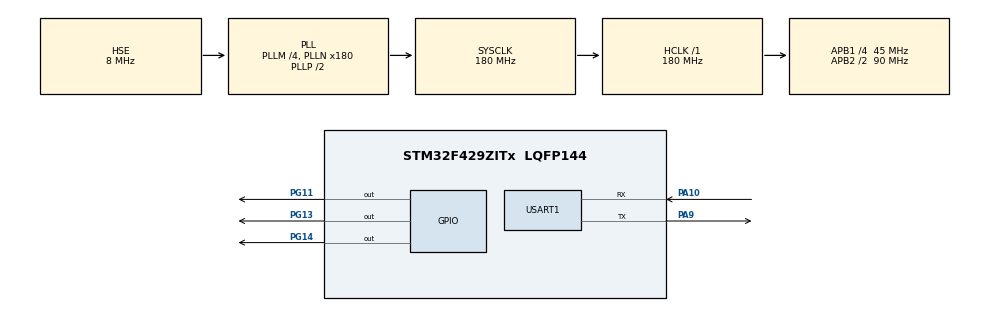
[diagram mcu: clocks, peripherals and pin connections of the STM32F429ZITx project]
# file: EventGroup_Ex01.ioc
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FREERTOS.Tasks01=defaultTask,0,128,StartDefaultTask,Default,NULL,Dynamic,NULL,NULL
Mcu.Family=STM32F4
Mcu.Name=STM32F429ZITx
Mcu.Package=LQFP144
NVIC.PriorityGroup=NVIC_PRIORITYGROUP_4
NVIC.TIM6_DAC_IRQn=true\:15\:0\:false\:false\:true\:false\:false\:true\:true
NVIC.TimeBase=TIM6_DAC_IRQn
NVIC.TimeBaseIP=TIM6
PA10.Mode=Asynchronous
PA10.Signal=USART1_RX
PA9.Mode=Asynchronous
PA9.Signal=USART1_TX
PG11.Signal=GPIO_Output
PG13.Signal=GPIO_Output
PG14.Signal=GPIO_Output
PH0/OSC_IN.Mode=HSE-External-Oscillator
PH0/OSC_IN.Signal=RCC_OSC_IN
PH1/OSC_OUT.Mode=HSE-External-Oscillator
PH1/OSC_OUT.Signal=RCC_OSC_OUT
ProjectManager.HeapSize=0x200
ProjectManager.StackSize=0x400
ProjectManager.TargetToolchain=STM32CubeIDE
RCC.48MHZClocksFreq_Value=51428571.428571425
RCC.AHBFreq_Value=180000000
RCC.APB1CLKDivider=RCC_HCLK_DIV4
RCC.APB1Freq_Value=45000000
RCC.APB1TimFreq_Value=90000000
RCC.APB2CLKDivider=RCC_HCLK_DIV2
RCC.APB2Freq_Value=90000000
RCC.APB2TimFreq_Value=180000000
RCC.CortexFreq_Value=180000000
RCC.HCLKFreq_Value=180000000
RCC.HSE_VALUE=8000000
RCC.HSI_VALUE=16000000
RCC.LSE_VALUE=32768
RCC.PLLM=4
RCC.PLLN=180
RCC.PLLQ=7
RCC.PLLSourceVirtual=RCC_PLLSOURCE_HSE
RCC.SYSCLKFreq_VALUE=180000000
RCC.SYSCLKSource=RCC_SYSCLKSOURCE_PLLCLK
RCC.VCOOutputFreq_Value=360000000
USART1.VirtualMode=VM_ASYNC
VP_FREERTOS_VS_CMSIS_V1.Mode=CMSIS_V1
VP_SYS_VS_tim6.Mode=TIM6
board=STM32F429I-DISC1

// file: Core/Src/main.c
/* USER CODE BEGIN Header */
/**
  ******************************************************************************
  * @file           : main.c
  * @brief          : Main program body
  ******************************************************************************
  * @attention
  *
  * Copyright (c) 2025 STMicroelectronics.
  * All rights reserved.
  *
  * This software is licensed under terms that can be found in the LICENSE file
  * in the root directory of this software component.
  * If no LICENSE file comes with this software, it is provided AS-IS.
  *
  ******************************************************************************
  */
/* USER CODE END Header */
#include "main.h"
#include "FreeRTOS.h"
#include "task.h"
#include "timers.h"
#include "queue.h"
#include "semphr.h"
#include "event_groups.h"

UART_HandleTypeDef huart1;

void SystemClock_Config(void);
static void MX_GPIO_Init(void);
static void MX_USART1_UART_Init(void);

/* USER CODE BEGIN 0 */

/* ********************* Task Handles *************************************** */
TaskHandle_t Task01Handle = NULL;
TaskHandle_t Task02Handle = NULL;
TaskHandle_t Task03Handle = NULL;

TaskHandle_t Tasks_WatchDogHandle = NULL;

/* ********************* Event Group Handle ********************************** */
EventGroupHandle_t xEventBits;

const uint32_t task01_id = ( 1 << 0 ); // 0x01 bit 0
const uint32_t task02_id = ( 1 << 1 ); // 0x02 bit 1
const uint32_t task03_id = ( 1 << 2 ); // 0x04 bit 2

const uint32_t all_sync_bits = ( task01_id | task02_id | task03_id ); // 0x07 bits 0, 1, 2

void Task01(void* pvParameters)
{
	for(;;)
	{
		HAL_GPIO_TogglePin(GPIOG, GPIO_PIN_13);
		xEventGroupSetBits(xEventBits, task01_id);
		vTaskDelay(pdMS_TO_TICKS(1000));
	}
}

void Task02(void *pvParameters)
{
	for(;;)
	{
		HAL_GPIO_TogglePin(GPIOG, GPIO_PIN_14);
		xEventGroupSetBits(xEventBits, task02_id);
		vTaskDelay(pdMS_TO_TICKS(1000));
	}
}

void Task03(void *pvParameters)
{
	int count = 0;
	for(;;)
	{
		if (count >= 4 && count <= 9) // every 4th to 9th iteration the task will not set its bit
		{
			// do nothing, simulating a task failure
		} else
		{
			HAL_GPIO_TogglePin(GPIOG, GPIO_PIN_11);
			xEventGroupSetBits(xEventBits, task03_id);
		}
		count++;
		if(count > 11) count = 0;
		vTaskDelay(pdMS_TO_TICKS(1000));
	}
}

void Tasks_WatchDog(void *pvParameters)
{
	for(;;)
	{
		uint32_t result = xEventGroupWaitBits(
				xEventBits,         // Event group handle
				all_sync_bits,      // Bits to wait for
				pdTRUE,	            // Clear bits on exit
				pdTRUE,             // Wait for all bits
				pdMS_TO_TICKS(2000) // Wait time
		);

		if ((result & all_sync_bits) == all_sync_bits) {
			HAL_UART_Transmit(&huart1, (uint8_t*) "All tasks are running\n", 23, HAL_MAX_DELAY);
		} else {

			if ((result & task01_id) != task01_id) {
				HAL_UART_Transmit(&huart1, (uint8_t*) "Task01 is not running. Task01 failure. \n", 40 , HAL_MAX_DELAY);
			}
			if ((result & task02_id) != task02_id) {
				HAL_UART_Transmit(&huart1, (uint8_t*) "Task02 is not running. Task02 failure. \n", 40 , HAL_MAX_DELAY);
			}
			if ((result & task03_id) != task03_id) {
				HAL_UART_Transmit(&huart1, (uint8_t*) "Task03 is not running. Task03 failure. \n", 40 , HAL_MAX_DELAY);
			}
		}
	}
}

/* USER CODE END 0 */

int main(void)
{

  /* MCU Configuration--------------------------------------------------------*/

  /* Reset of all peripherals, Initializes the Flash interface and the Systick. */
  HAL_Init();

  /* Configure the system clock */
  SystemClock_Config();

  /* Initialize all configured peripherals */
  MX_GPIO_Init();
  MX_USART1_UART_Init();
  /* USER CODE BEGIN 2 */

  /* *********************** Create Event Group ************************** */
  xEventBits = xEventGroupCreate();

  if (xEventBits == NULL) {
	HAL_UART_Transmit(&huart1, (uint8_t *)"Event Group was not created\n", 29, HAL_MAX_DELAY);
  } else {
	HAL_UART_Transmit(&huart1, (uint8_t *)"Event Group was created\n", 26, HAL_MAX_DELAY);
  }

  /* *********************** Create Tasks ******************************** */
  xTaskCreate(Task01, "T1", 128, NULL, 1, &Task01Handle);
  xTaskCreate(Task02, "T2", 128, NULL, 1, &Task02Handle);
  xTaskCreate(Task03, "T3", 128, NULL, 1, &Task03Handle);

  xTaskCreate(Tasks_WatchDog, "WD", 128, NULL, 2, &Tasks_WatchDogHandle);

  vTaskStartScheduler();

  /* USER CODE END 2 */

  /* We should never get here as control is now taken by the scheduler */

  /* Infinite loop */
  while (1)
  {

  }
}

void SystemClock_Config(void)
{
  RCC_OscInitTypeDef RCC_OscInitStruct = {0};
  RCC_ClkInitTypeDef RCC_ClkInitStruct = {0};

  /** Configure the main internal regulator output voltage
  */
  __HAL_RCC_PWR_CLK_ENABLE();
  __HAL_PWR_VOLTAGESCALING_CONFIG(PWR_REGULATOR_VOLTAGE_SCALE1);

  /** Initializes the RCC Oscillators according to the specified parameters
  * in the RCC_OscInitTypeDef structure.
  */
  RCC_OscInitStruct.OscillatorType = RCC_OSCILLATORTYPE_HSE;
  RCC_OscInitStruct.HSEState = RCC_HSE_ON;
  RCC_OscInitStruct.PLL.PLLState = RCC_PLL_ON;
  RCC_OscInitStruct.PLL.PLLSource = RCC_PLLSOURCE_HSE;
  RCC_OscInitStruct.PLL.PLLM = 4;
  RCC_OscInitStruct.PLL.PLLN = 180;
  RCC_OscInitStruct.PLL.PLLP = RCC_PLLP_DIV2;
  RCC_OscInitStruct.PLL.PLLQ = 7;
  if (HAL_RCC_OscConfig(&RCC_OscInitStruct) != HAL_OK)
  {
    Error_Handler();
  }

  /** Activate the Over-Drive mode
  */
  if (HAL_PWREx_EnableOverDrive() != HAL_OK)
  {
    Error_Handler();
  }

  /** Initializes the CPU, AHB and APB buses clocks
  */
  RCC_ClkInitStruct.ClockType = RCC_CLOCKTYPE_HCLK|RCC_CLOCKTYPE_SYSCLK
                              |RCC_CLOCKTYPE_PCLK1|RCC_CLOCKTYPE_PCLK2;
  RCC_ClkInitStruct.SYSCLKSource = RCC_SYSCLKSOURCE_PLLCLK;
  RCC_ClkInitStruct.AHBCLKDivider = RCC_SYSCLK_DIV1;
  RCC_ClkInitStruct.APB1CLKDivider = RCC_HCLK_DIV4;
  RCC_ClkInitStruct.APB2CLKDivider = RCC_HCLK_DIV2;

  if (HAL_RCC_ClockConfig(&RCC_ClkInitStruct, FLASH_LATENCY_5) != HAL_OK)
  {
    Error_Handler();
  }
}

static void MX_USART1_UART_Init(void)
{

  huart1.Instance = USART1;
  huart1.Init.BaudRate = 115200;
  huart1.Init.WordLength = UART_WORDLENGTH_8B;
  huart1.Init.StopBits = UART_STOPBITS_1;
  huart1.Init.Parity = UART_PARITY_NONE;
  huart1.Init.Mode = UART_MODE_TX_RX;
  huart1.Init.HwFlowCtl = UART_HWCONTROL_NONE;
  huart1.Init.OverSampling = UART_OVERSAMPLING_16;
  if (HAL_UART_Init(&huart1) != HAL_OK)
  {
    Error_Handler();
  }

}

static void MX_GPIO_Init(void)
{
  GPIO_InitTypeDef GPIO_InitStruct = {0};

  /* GPIO Ports Clock Enable */
  __HAL_RCC_GPIOH_CLK_ENABLE();
  __HAL_RCC_GPIOA_CLK_ENABLE();
  __HAL_RCC_GPIOG_CLK_ENABLE();

  /*Configure GPIO pin Output Level */
  HAL_GPIO_WritePin(GPIOG, GPIO_PIN_11|GPIO_PIN_13|GPIO_PIN_14, GPIO_PIN_RESET);

  /*Configure GPIO pins : PG11 PG13 PG14 */
  GPIO_InitStruct.Pin = GPIO_PIN_11|GPIO_PIN_13|GPIO_PIN_14;
  GPIO_InitStruct.Mode = GPIO_MODE_OUTPUT_PP;
  GPIO_InitStruct.Pull = GPIO_NOPULL;
  GPIO_InitStruct.Speed = GPIO_SPEED_FREQ_LOW;
  HAL_GPIO_Init(GPIOG, &GPIO_InitStruct);

}

void HAL_TIM_PeriodElapsedCallback(TIM_HandleTypeDef *htim)
{
  if (htim->Instance == TIM6)
  {
    HAL_IncTick();
  }
}

void Error_Handler(void)
{
  __disable_irq();
  while (1)
  {
  }
}
